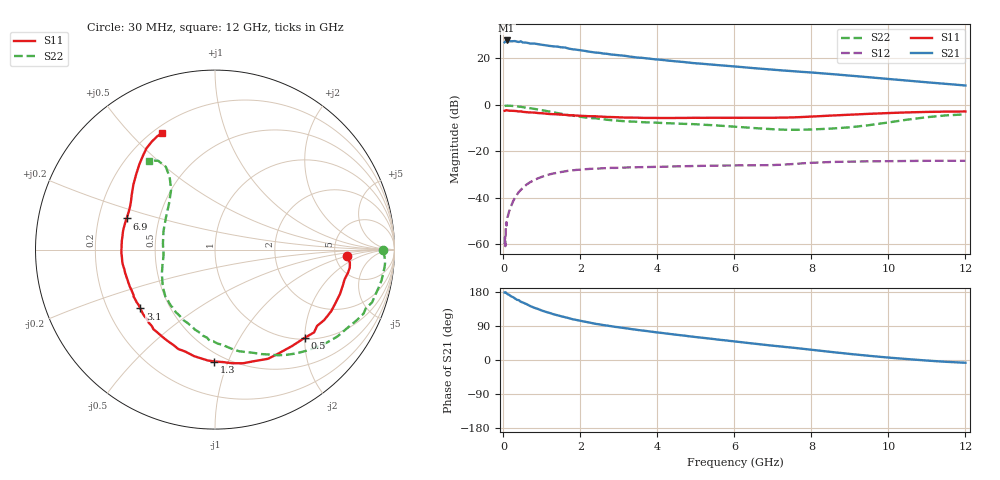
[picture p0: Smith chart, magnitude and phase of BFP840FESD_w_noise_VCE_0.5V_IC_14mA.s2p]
! Infineon Technologies  Discrete & RF Semiconductors
! BFP840FESD
! VCE =  0.5 V,  IC =  14 mA
! Common Emitter S-Parameters:  May 2012
# GHz  S  MA  R  50
!  f  S11  S21  S12  S22
! GHz  MAG  ANG  MAG  ANG  MAG  ANG  MAG  ANG
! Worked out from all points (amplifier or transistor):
!   103 points, 30 MHz to 12 GHz, reference 50 ohm
!   highest |S21| = 27.6 dB at 80 MHz (marker M1)
!   |S21| within 3 dB of that: start of sweep to 1.555 GHz
!   unconditionally stable (mu >= 1): start of sweep to 51.4 MHz; 5.843 GHz to end of sweep
!   at 400 MHz: K = 0.09, MSG = 32.3 dB, |S12| = -37.6 dB
!   at 3.7 GHz: K = 0.69, MSG = 23.4 dB, |S12| = -26.9 dB
!   at 12 GHz: K = 1.28, MAG = 13.0 dB, |S12| = -24.2 dB
!   lowest NFmin = 0.76 dB at 450 MHz
!   S11 on the Smith chart (normalised r, x): 30 MHz: 6.43, -1.05; 500 MHz: 1.03, -2.00; 1.3 GHz: 0.44, -0.89; 3.1 GHz: 0.34, -0.31; 6.9 GHz: 0.32, +0.15; 12 GHz: 0.23, +0.62
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0.03  0.7372 -2.9  21.96 178.0  0.001 92.4  0.9334 -0.3
0.05  0.7485 -4.7  23.1 178.8  0.0009 84.9  0.9418 -1.5
0.08  0.7572 -7.7  24.06 176.0  0.0025 78.5  0.9476 -3.4
0.13  0.741 -12.9  22.86 172.7  0.0045 81.1  0.9489 -6.5
0.3  0.7327 -28.0  23.34 162.4  0.0099 75.5  0.9278 -15.9
0.35  0.7241 -32.8  22.65 159.0  0.0115 76.1  0.9232 -18.6
0.4  0.7101 -36.8  22.3 157.7  0.0132 73.6  0.9018 -21.2
0.45  0.7193 -39.9  23.09 153.8  0.0146 71.9  0.9013 -23.3
0.5  0.7009 -44.6  21.79 151.9  0.0161 70.2  0.8837 -26.3
0.8  0.6763 -64.1  20.62 137.9  0.0238 61.0  0.8112 -39.6
1.3  0.6235 -90.4  17.95 120.8  0.033 48.4  0.6855 -59.2
1.6  0.6046 -101.2  16.94 112.9  0.0367 42.4  0.613 -69.7
1.8  0.5905 -110.3  15.5 107.5  0.0386 39.6  0.582 -76.7
2.1  0.5703 -119.3  14.42 101.4  0.0407 35.1  0.5317 -85.7
2.4  0.5609 -127.7  13.18 95.3  0.0419 32.5  0.5093 -93.3
3.1  0.5297 -141.8  11.35 84.8  0.0441 26.8  0.4431 -108.3
4.1  0.5165 -159.2  9.203 71.5  0.046 23.1  0.404 -124.8
6.1  0.5209 172.9  6.529 47.9  0.0493 19.3  0.3312 -153.0
6.9  0.5224 160.6  5.737 38.8  0.0499 20.2  0.2992 -166.5
8.5  0.5812 141.5  4.565 21.4  0.0583 18.8  0.3045 160.6
10.5  0.6813 124.1  3.287 2.4  0.0613 13.8  0.4768 122.0
12  0.7128 114.6  2.583 -7.3  0.0618 13.1  0.6173 126.5
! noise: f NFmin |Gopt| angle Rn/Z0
0.45  0.76  0.22  4  0.12
0.9  0.78  0.22  11  0.14
1.5  0.8  0.2  17  0.14
1.9  0.8  0.18  27  0.14
2.4  0.81  0.17  37  0.14
3.5  0.81  0.17  61  0.14
5.5  0.86  0.1  123  0.12
8  0.96  0.11  -177  0.13
10  1.08  0.25  -124  0.14
12  1.29  0.41  -109  0.16
